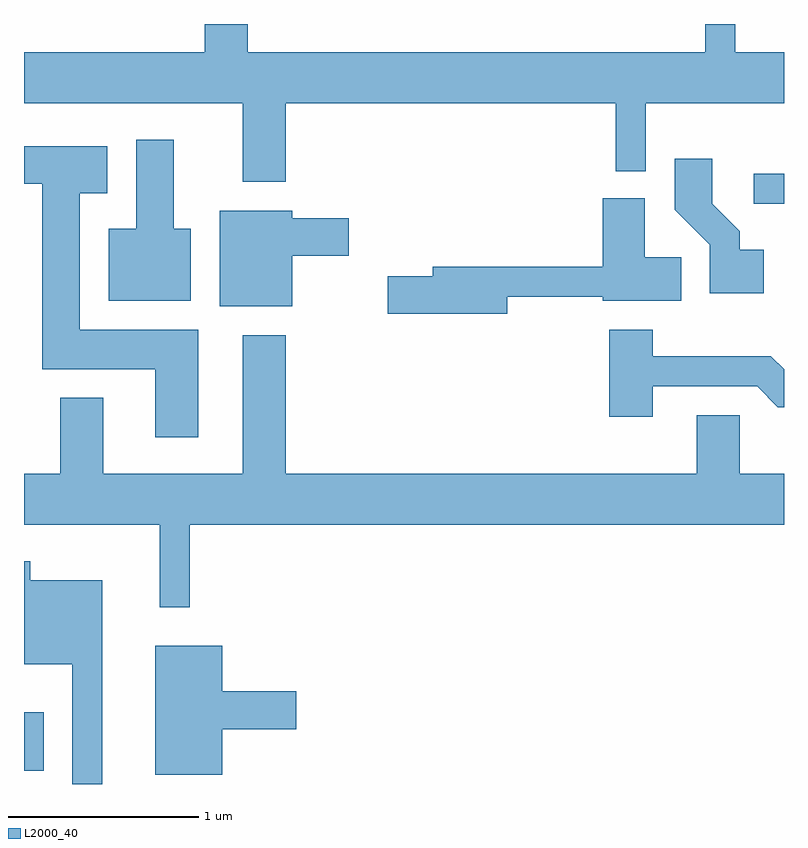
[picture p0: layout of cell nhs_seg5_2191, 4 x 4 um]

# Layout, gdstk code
import gdstk
lib = gdstk.Library(unit=1e-6, precision=1e-09)
def R(c, l, rs):  # rectangles x0, y0, x1, y1
    for r in rs: c.add(gdstk.rectangle(r[:2], r[2:], *l))
def P(c, l, *ps):  # polygons
    for p in ps: c.add(gdstk.Polygon(p, *l))
L2000_40 = (2000, 40)

nhs_seg5_2191 = lib.new_cell('nhs_seg5_2191')
R(nhs_seg5_2191, L2000_40, [(249.611,1482.141,249.714,1482.449), (253.453,1485.126,253.611,1485.284)])
P(nhs_seg5_2191, L2000_40, [(250.989,1485.656),(252.726,1485.656),(252.726,1485.298),(252.884,1485.298),(252.884,1485.656),(253.611,1485.656),(253.611,1485.924),(253.354,1485.924),(253.354,1486.072),(253.196,1486.072),(253.196,1485.924),(250.789,1485.924),(250.789,1486.072),(250.561,1486.072),(250.561,1485.924),(249.611,1485.924),(249.611,1485.656),(250.761,1485.656),(250.761,1485.241),(250.989,1485.241)],
  [(250.489,1484.994),(250.399,1484.994),(250.399,1485.464),(250.201,1485.464),(250.201,1484.994),(250.056,1484.994),(250.056,1484.616),(250.489,1484.616)],
  [(250.529,1484.464),(249.904,1484.464),(249.904,1485.181),(250.049,1485.181),(250.049,1485.429),(249.611,1485.429),(249.611,1485.231),(249.706,1485.231),(249.706,1484.256),(250.301,1484.256),(250.301,1483.896),(250.529,1483.896)],
  [(253.504,1484.884),(253.379,1484.884),(253.379,1484.982),(253.234,1485.127),(253.234,1485.364),(253.036,1485.364),(253.036,1485.094),(253.221,1484.909),(253.221,1484.656),(253.504,1484.656)],
  [(252.154,1484.636),(252.656,1484.636),(252.656,1484.616),(253.069,1484.616),(253.069,1484.844),(252.879,1484.844),(252.879,1485.154),(252.656,1485.154),(252.656,1484.794),(251.761,1484.794),(251.761,1484.744),(251.526,1484.744),(251.526,1484.546),(252.154,1484.546)],
  [(251.024,1484.851),(251.319,1484.851),(251.319,1485.049),(251.024,1485.049),(251.024,1485.089),(250.641,1485.089),(250.641,1484.586),(251.024,1484.586)],
  [(252.919,1484.166),(253.469,1484.166),(253.579,1484.056),(253.611,1484.056),(253.611,1484.255),(253.542,1484.324),(252.919,1484.324),(252.919,1484.464),(252.691,1484.464),(252.691,1484.006),(252.919,1484.006)],
  [(250.484,1483.436),(253.611,1483.436),(253.611,1483.704),(253.379,1483.704),(253.379,1484.014),(253.151,1484.014),(253.151,1483.704),(250.989,1483.704),(250.989,1484.434),(250.761,1484.434),(250.761,1483.704),(250.029,1483.704),(250.029,1484.104),(249.801,1484.104),(249.801,1483.704),(249.611,1483.704),(249.611,1483.436),(250.326,1483.436),(250.326,1483.003),(250.484,1483.003)],
  [(250.024,1483.144),(249.644,1483.144),(249.644,1483.244),(249.611,1483.244),(249.611,1482.701),(249.866,1482.701),(249.866,1482.072),(250.024,1482.072)],
  [(250.654,1482.361),(251.044,1482.361),(251.044,1482.559),(250.654,1482.559),(250.654,1482.799),(250.301,1482.799),(250.301,1482.121),(250.654,1482.121)])

lib.write_gds('nhs_seg5_2191.gds')
